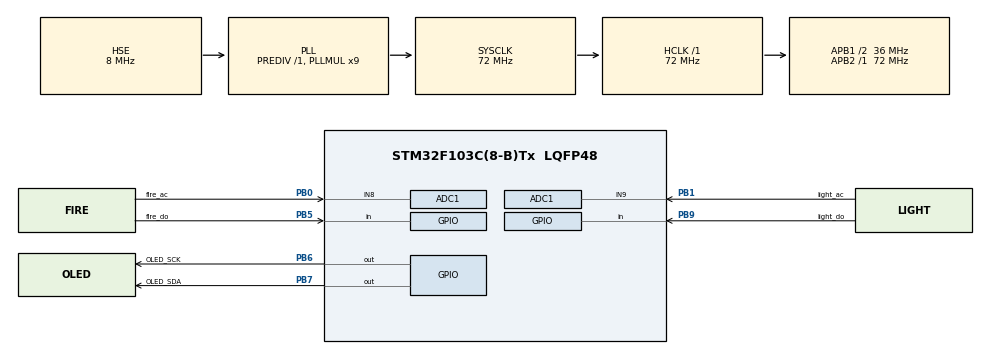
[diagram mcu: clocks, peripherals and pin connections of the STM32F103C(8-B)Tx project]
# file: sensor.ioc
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ADC1.Channel-0\#ChannelRegularConversion=ADC_CHANNEL_8
ADC1.NbrOfConversionFlag=1
ADC1.Rank-0\#ChannelRegularConversion=1
ADC1.SamplingTime-0\#ChannelRegularConversion=ADC_SAMPLETIME_1CYCLE_5
ADC1.master=1
Mcu.Family=STM32F1
Mcu.Name=STM32F103C(8-B)Tx
Mcu.Package=LQFP48
NVIC.PriorityGroup=NVIC_PRIORITYGROUP_4
PA13.Mode=Serial_Wire
PA13.Signal=SYS_JTMS-SWDIO
PA14.Mode=Serial_Wire
PA14.Signal=SYS_JTCK-SWCLK
PB0.GPIO_Label=fire_ac
PB0.Signal=ADCx_IN8
PB1.GPIO_Label=light_ac
PB1.Signal=ADCx_IN9
PB5.GPIO_Label=fire_do
PB5.Signal=GPIO_Input
PB6.GPIO_Label=OLED_SCK
PB6.GPIO_ModeDefaultOutputPP=GPIO_MODE_OUTPUT_OD
PB6.GPIO_PuPd=GPIO_PULLUP
PB6.GPIO_Speed=GPIO_SPEED_FREQ_LOW
PB6.Signal=GPIO_Output
PB7.GPIO_Label=OLED_SDA
PB7.GPIO_ModeDefaultOutputPP=GPIO_MODE_OUTPUT_OD
PB7.GPIO_PuPd=GPIO_PULLUP
PB7.Signal=GPIO_Output
PB9.GPIO_Label=light_do
PB9.Signal=GPIO_Input
PD0-OSC_IN.Mode=HSE-External-Oscillator
PD0-OSC_IN.Signal=RCC_OSC_IN
PD1-OSC_OUT.Mode=HSE-External-Oscillator
PD1-OSC_OUT.Signal=RCC_OSC_OUT
ProjectManager.HeapSize=0x200
ProjectManager.StackSize=0x400
ProjectManager.TargetToolchain=CMake
RCC.ADCPresc=RCC_ADCPCLK2_DIV6
RCC.AHBFreq_Value=72000000
RCC.APB1CLKDivider=RCC_HCLK_DIV2
RCC.APB1Freq_Value=36000000
RCC.APB1TimFreq_Value=72000000
RCC.APB2Freq_Value=72000000
RCC.APB2TimFreq_Value=72000000
RCC.HCLKFreq_Value=72000000
RCC.PLLMUL=RCC_PLL_MUL9
RCC.PLLSourceVirtual=RCC_PLLSOURCE_HSE
RCC.SYSCLKFreq_VALUE=72000000
RCC.SYSCLKSource=RCC_SYSCLKSOURCE_PLLCLK
RCC.USBFreq_Value=72000000
SH.ADCx_IN8.0=ADC1_IN8,IN8
SH.ADCx_IN9.0=ADC1_IN9,IN9
board=custom

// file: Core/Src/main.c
/* USER CODE BEGIN Header */
/**
  ******************************************************************************
  * @file           : main.c
  * @brief          : Main program body
  ******************************************************************************
  * @attention
  *
  * Copyright (c) 2026 STMicroelectronics.
  * All rights reserved.
  *
  * This software is licensed under terms that can be found in the LICENSE file
  * in the root directory of this software component.
  * If no LICENSE file comes with this software, it is provided AS-IS.
  *
  ******************************************************************************
  */
/* USER CODE END Header */
#include "main.h"
#include "adc.h"
#include "gpio.h"

/* USER CODE BEGIN Includes */
#include "fire_sensor.h"
#include "light_sensor.h"
#include "oled.h"
/* USER CODE END Includes */

void SystemClock_Config(void);

int main(void)
{

  /* MCU Configuration--------------------------------------------------------*/

  /* Reset of all peripherals, Initializes the Flash interface and the Systick. */
  HAL_Init();

  /* Configure the system clock */
  SystemClock_Config();

  /* Initialize all configured peripherals */
  MX_GPIO_Init();
  MX_ADC1_Init();
  /* USER CODE BEGIN 2 */
  fire_sensor_init();
  light_sensor_init();
  OLED_Init();
  OLED_Clear();
  /* USER CODE END 2 */

  /* Infinite loop */
  while (1)
  {

    /* USER CODE BEGIN 3 */
    uint16_t fire_adc = fire_read_adc();
    uint8_t  fire_dig = fire_read_digital();

    uint16_t light_adc = light_read_adc();
    uint8_t  light_dig = light_read_digital();

    // 火焰传感器：第1行ADC，第2行数字（取反：有火显示Yes）
    OLED_ShowString(1, 1, "FIRE ADC:");
    OLED_ShowNum(1, 10, fire_adc, 4);

    OLED_ShowString(2, 1, "FIRE DIG:");
    OLED_ShowString(2, 11, (!fire_dig) ? "Yes" : "No ");

    // 光敏传感器：第3行ADC，第4行数字（取反：有光显示Yes）
    OLED_ShowString(3, 1, "LIGHT ADC:");
    OLED_ShowNum(3, 11, light_adc, 4);

    OLED_ShowString(4, 1, "LIGHT DIG:");
    OLED_ShowString(4, 11, (!light_dig) ? "Yes" : "No ");

    HAL_Delay(200);
  }
  /* USER CODE END 3 */
}

void SystemClock_Config(void)
{
  RCC_OscInitTypeDef RCC_OscInitStruct = {0};
  RCC_ClkInitTypeDef RCC_ClkInitStruct = {0};
  RCC_PeriphCLKInitTypeDef PeriphClkInit = {0};

  RCC_OscInitStruct.OscillatorType = RCC_OSCILLATORTYPE_HSE;
  RCC_OscInitStruct.HSEState = RCC_HSE_ON;
  RCC_OscInitStruct.HSEPredivValue = RCC_HSE_PREDIV_DIV1;
  RCC_OscInitStruct.HSIState = RCC_HSI_ON;
  RCC_OscInitStruct.PLL.PLLState = RCC_PLL_ON;
  RCC_OscInitStruct.PLL.PLLSource = RCC_PLLSOURCE_HSE;
  RCC_OscInitStruct.PLL.PLLMUL = RCC_PLL_MUL9;
  if (HAL_RCC_OscConfig(&RCC_OscInitStruct) != HAL_OK)
  {
    Error_Handler();
  }

  RCC_ClkInitStruct.ClockType = RCC_CLOCKTYPE_HCLK|RCC_CLOCKTYPE_SYSCLK
                              |RCC_CLOCKTYPE_PCLK1|RCC_CLOCKTYPE_PCLK2;
  RCC_ClkInitStruct.SYSCLKSource = RCC_SYSCLKSOURCE_PLLCLK;
  RCC_ClkInitStruct.AHBCLKDivider = RCC_SYSCLK_DIV1;
  RCC_ClkInitStruct.APB1CLKDivider = RCC_HCLK_DIV2;
  RCC_ClkInitStruct.APB2CLKDivider = RCC_HCLK_DIV1;

  if (HAL_RCC_ClockConfig(&RCC_ClkInitStruct, FLASH_LATENCY_2) != HAL_OK)
  {
    Error_Handler();
  }
  PeriphClkInit.PeriphClockSelection = RCC_PERIPHCLK_ADC;
  PeriphClkInit.AdcClockSelection = RCC_ADCPCLK2_DIV6;
  if (HAL_RCCEx_PeriphCLKConfig(&PeriphClkInit) != HAL_OK)
  {
    Error_Handler();
  }
}

void Error_Handler(void)
{
  __disable_irq();
  while (1)
  {
  }
}
